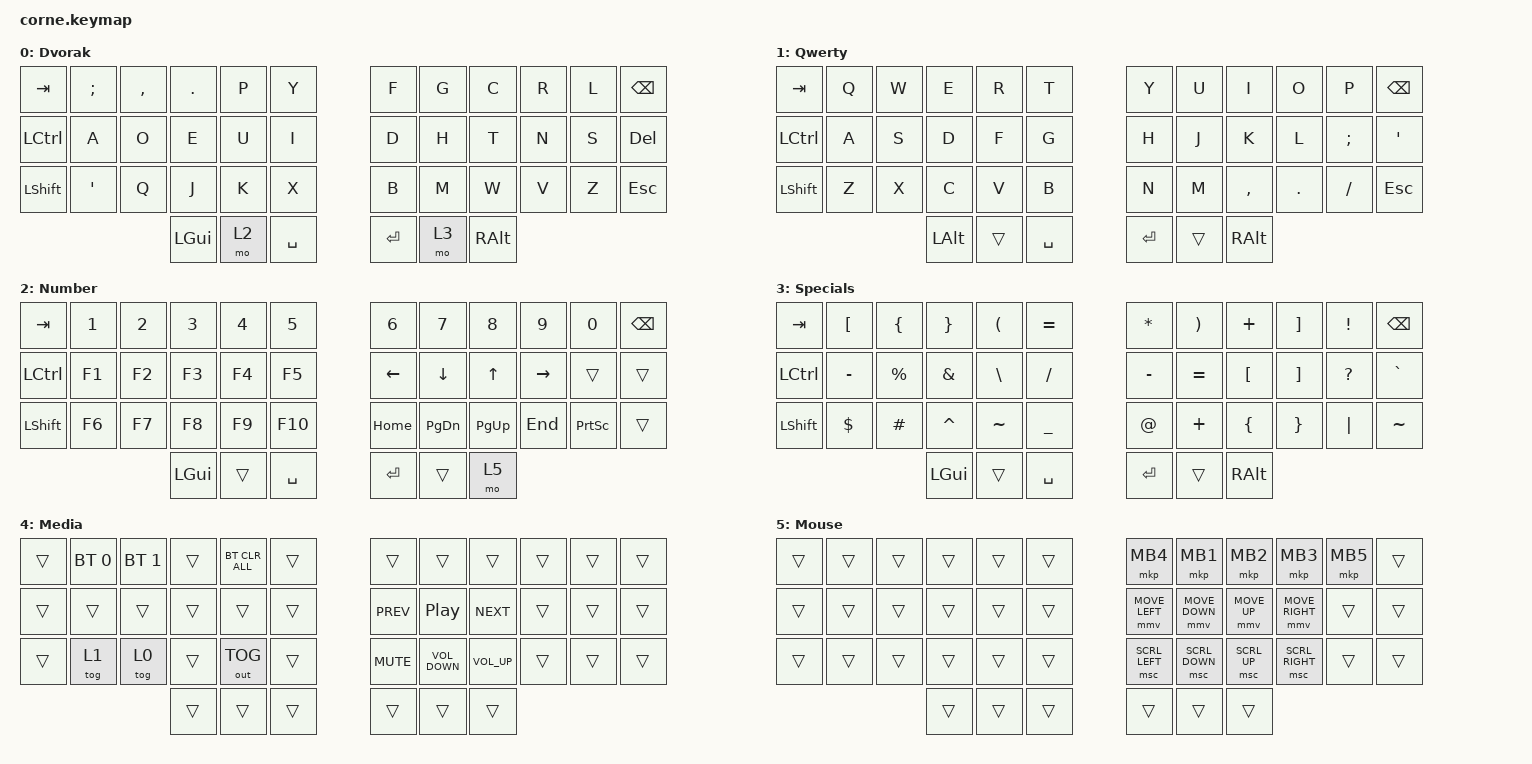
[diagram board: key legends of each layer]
/*
 * Copyright (c) 2020 The ZMK Contributors
 *
 * SPDX-License-Identifier: MIT
 */

#include <behaviors.dtsi>
#include <dt-bindings/zmk/bt.h>
#include <dt-bindings/zmk/keys.h>
#include <dt-bindings/zmk/outputs.h>
#include <dt-bindings/zmk/pointing.h>

/ {
    combos { compatible = "zmk,combos"; };

    keymap {
        compatible = "zmk,keymap";

        default_layer_dvorak {
            // -----------------------------------------------------------------------------------------
            // |  TAB |  Q  |  W  |  E  |  R  |  T  |   |  Y  |  U   |  I  |  O  |  P  | BSPC |
            // | CTRL |  A  |  S  |  D  |  F  |  G  |   |  H  |  J   |  K  |  L  |  ;  |  '   |
            // | SHFT |  Z  |  X  |  C  |  V  |  B  |   |  N  |  M   |  ,  |  .  |  /  | ESC  |
            //                    | GUI | LWR | SPC |   | ENT | RSE  | ALT |

            bindings = <
&kp TAB    &kp SEMICOLON  &kp COMMA  &kp PERIOD  &kp P  &kp Y        &kp F    &kp G  &kp C     &kp R  &kp L  &kp BSPC
&kp LCTRL  &kp A          &kp O      &kp E       &kp U  &kp I        &kp D    &kp H  &kp T     &kp N  &kp S  &kp DEL
&kp LSHFT  &kp SQT        &kp Q      &kp J       &kp K  &kp X        &kp B    &kp M  &kp W     &kp V  &kp Z  &kp ESC
                                     &kp LGUI    &mo 2  &kp SPACE    &kp RET  &mo 3  &kp RALT
            >;

            label = "Dvorak";
        };

        default_layer_qwerty {
            bindings = <
&kp TAB    &kp Q  &kp W  &kp E     &kp R   &kp T        &kp Y      &kp U   &kp I          &kp O    &kp P     &kp BSPC
&kp LCTRL  &kp A  &kp S  &kp D     &kp F   &kp G        &kp H      &kp J   &kp K          &kp L    &kp SEMI  &kp SQT
&kp LSHFT  &kp Z  &kp X  &kp C     &kp V   &kp B        &kp N      &kp M   &kp COMMA      &kp DOT  &kp FSLH  &kp ESC
                         &kp LALT  &trans  &kp SPACE    &kp ENTER  &trans  &kp RIGHT_ALT
            >;

            label = "Qwerty";
        };

        lower_layer {
            // -----------------------------------------------------------------------------------------
            // |  TAB |  1  |  2  |  3  |  4  |  5  |   |  6  |  7  |  8  |  9  |  0  | BSPC |
            // | BTCLR| BT1 | BT2 | BT3 | BT4 | BT5 |   | LFT | DWN |  UP | RGT |     |      |
            // | SHFT |     |     |     |     |     |   |     |     |     |     |     |      |
            //                    | GUI |     | SPC |   | ENT |     | ALT |

            bindings = <
&kp TAB           &kp N1  &kp N2  &kp N3    &kp N4  &kp N5       &kp N6    &kp N7         &kp N8       &kp N9     &kp N0           &kp BSPC
&kp LEFT_CONTROL  &kp F1  &kp F2  &kp F3    &kp F4  &kp F5       &kp LEFT  &kp DOWN       &kp UP       &kp RIGHT  &trans           &trans
&kp LSHFT         &kp F6  &kp F7  &kp F8    &kp F9  &kp F10      &kp HOME  &kp PAGE_DOWN  &kp PAGE_UP  &kp END    &kp PRINTSCREEN  &trans
                                  &kp LGUI  &trans  &kp SPACE    &kp RET   &trans         &mo 5
            >;

            label = "Number";
        };

        raise_layer {
            // -----------------------------------------------------------------------------------------
            // |  TAB |  !  |  @  |  #  |  $  |  %  |   |  ^  |  &  |  *  |  (  |  )  | BSPC |
            // | CTRL |     |     |     |     |     |   |  -  |  =  |  [  |  ]  |  \  |  `   |
            // | SHFT |     |     |     |     |     |   |  _  |  +  |  {  |  }  | "|" |  ~   |
            //                    | GUI |     | SPC |   | ENT |     | ALT |

            bindings = <
&kp TAB    &kp LEFT_BRACKET  &kp LEFT_BRACE  &kp RIGHT_BRACE  &kp LEFT_PARENTHESIS  &kp EQUAL    &kp ASTERISK  &kp RIGHT_PARENTHESIS  &kp PLUS  &kp RIGHT_BRACKET  &kp EXCLAMATION  &kp BSPC
&kp LCTRL  &kp MINUS         &kp PERCENT     &kp AMPS         &kp BACKSLASH         &kp SLASH    &kp MINUS     &kp EQUAL              &kp LBKT  &kp RBKT           &kp QUESTION     &kp GRAVE
&kp LSHFT  &kp DOLLAR        &kp HASH        &kp CARET        &kp TILDE             &kp UNDER    &kp AT        &kp PLUS               &kp LBRC  &kp RBRC           &kp PIPE         &kp TILDE
                                             &kp LGUI         &trans                &kp SPACE    &kp RET       &trans                 &kp RALT
            >;

            label = "Specials";
        };

        media_layer {
            bindings = <
&trans  &bt BT_SEL 0  &bt BT_SEL 1  &trans  &bt BT_CLR_ALL  &trans    &trans      &trans             &trans           &trans  &trans  &trans
&trans  &trans        &trans        &trans  &trans          &trans    &kp C_PREV  &kp C_PLAY_PAUSE   &kp C_NEXT       &trans  &trans  &trans
&trans  &tog 1        &tog 0        &trans  &out OUT_TOG    &trans    &kp K_MUTE  &kp C_VOLUME_DOWN  &kp C_VOLUME_UP  &trans  &trans  &trans
                                    &trans  &trans          &trans    &trans      &trans             &trans
            >;

            label = "Media";
        };

        mouse_layer {
            bindings = <
&trans  &trans  &trans  &trans  &trans  &trans    &mkp MB4        &mkp MB1        &mkp MB2      &mkp MB3         &mkp MB5  &trans
&trans  &trans  &trans  &trans  &trans  &trans    &mmv MOVE_LEFT  &mmv MOVE_DOWN  &mmv MOVE_UP  &mmv MOVE_RIGHT  &trans    &trans
&trans  &trans  &trans  &trans  &trans  &trans    &msc SCRL_LEFT  &msc SCRL_DOWN  &msc SCRL_UP  &msc SCRL_RIGHT  &trans    &trans
                        &trans  &trans  &trans    &trans          &trans          &trans
            >;

            label = "Mouse";
        };
    };

    conditional_layers {
        compatible = "zmk,conditional-layers";

        media_and_layers {
            if-layers = <2 3>;
            then-layer = <4>;
        };
    };
};
